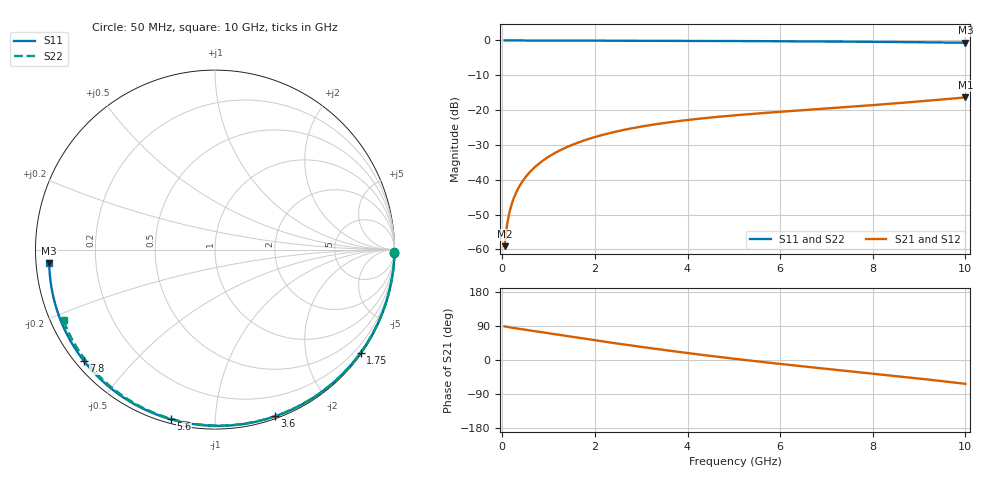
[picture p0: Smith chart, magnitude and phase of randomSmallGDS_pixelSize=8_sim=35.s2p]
! freq	dB(S11)	phase(S11)	dB(S12)	phase(S12)
!  dB(S21)	phase(S21)	dB(S22)	phase(S22)
!S-par simulation data
#  GHz  S  DB  R 50
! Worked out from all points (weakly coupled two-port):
!   200 points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, 50 MHz to 10 GHz, reference 50 ohm
!   highest |S21| = -16.36 dB at 10 GHz (marker M1); lowest = -59.1 dB at 50 MHz (marker M2)
!   lowest |S11| = -0.7 dB at 10 GHz (marker M3), VSWR 26.37, Z = 1.9 - j2.08 ohm
!   |S11| at or under -10 dB: nowhere
!   |S22| runs from -0.6 to 0.0 dB; largest |S21 - S12| = 0
!   S11 on the Smith chart (normalised r, x): 50 MHz: open; 1.75 GHz: 0.03, -3.14; 3.6 GHz: 0.02, -1.42; 5.6 GHz: 0.02, -0.77; 7.8 GHz: 0.02, -0.37; 10 GHz: 0.04, -0.04
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0.05  -0.00 -1.0  -59.09 88.7  -59.09 88.7  -0.00 -0.9
0.1  -0.00 -2.1  -53.10 87.5  -53.10 87.5  -0.00 -1.8
0.15  -0.00 -3.1  -49.61 86.4  -49.61 86.4  -0.00 -2.7
0.2  -0.00 -4.1  -47.14 85.4  -47.14 85.4  -0.00 -3.6
0.25  -0.00 -5.1  -45.23 84.4  -45.23 84.4  -0.00 -4.6
0.35  -0.01 -7.2  -42.35 82.6  -42.35 82.6  -0.00 -6.4
0.5  -0.01 -10.3  -39.30 79.8  -39.30 79.8  -0.01 -9.1
0.7  -0.02 -14.3  -36.43 76.1  -36.43 76.1  -0.01 -12.7
1  -0.03 -20.4  -33.40 70.5  -33.40 70.5  -0.02 -18.0
1.35  -0.04 -27.4  -30.90 64.0  -30.90 64.0  -0.03 -24.3
1.75  -0.05 -35.3  -28.79 56.6  -28.79 56.6  -0.04 -31.3
2.6  -0.08 -51.7  -25.76 41.5  -25.76 41.5  -0.07 -45.9
3.4  -0.10 -66.6  -23.89 27.9  -23.89 27.9  -0.09 -59.2
3.6  -0.11 -70.2  -23.52 24.7  -23.52 24.7  -0.10 -62.4
4.3  -0.14 -82.6  -22.41 13.7  -22.41 13.7  -0.13 -73.6
5.05  -0.17 -95.4  -21.47 2.7  -21.47 2.7  -0.16 -85.1
5.6  -0.20 -104.6  -20.89 -5.0  -20.89 -5.0  -0.18 -93.3
6.7  -0.27 -122.3  -19.83 -19.5  -19.83 -19.5  -0.25 -109.2
7.8  -0.37 -139.6  -18.77 -33.4  -18.77 -33.4  -0.34 -124.5
8.35  -0.43 -148.3  -18.21 -40.4  -18.21 -40.4  -0.39 -132.1
9.2  -0.54 -161.9  -17.29 -51.7  -17.29 -51.7  -0.50 -143.8
10  -0.66 -175.2  -16.36 -62.9  -16.36 -62.9  -0.61 -154.9
